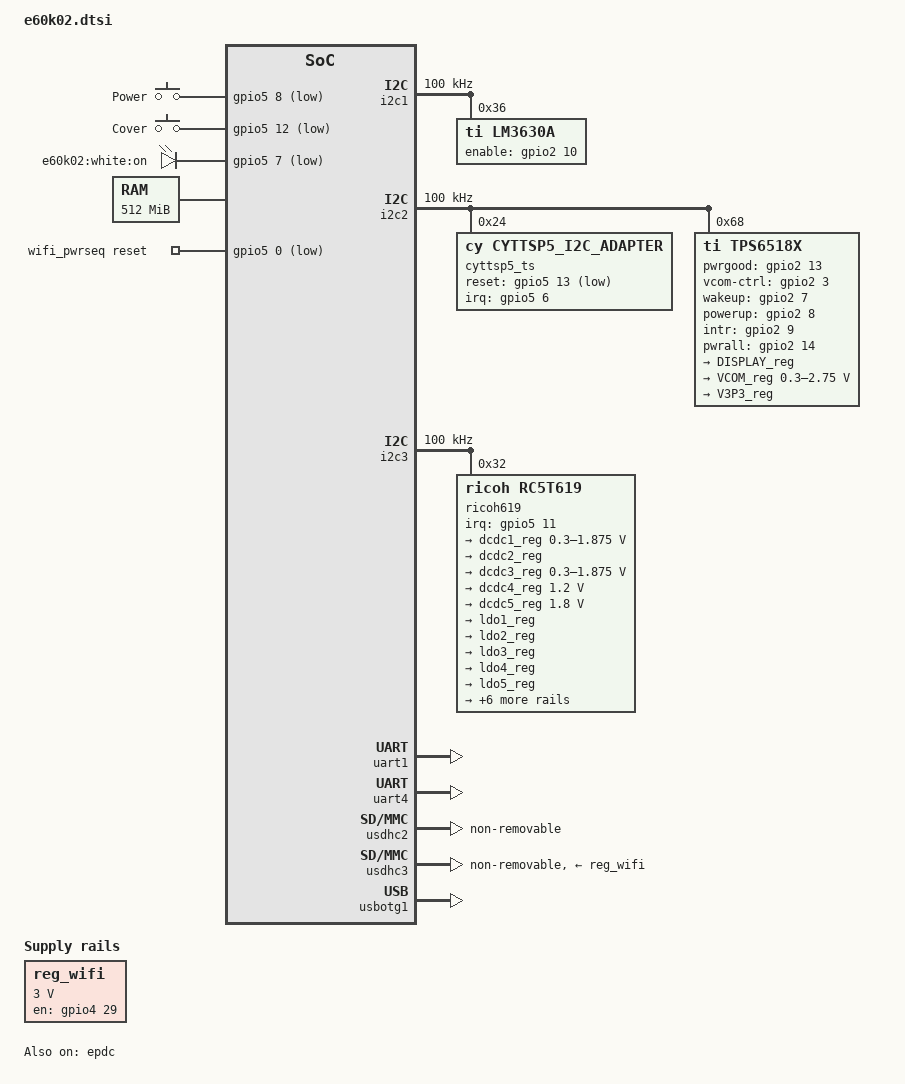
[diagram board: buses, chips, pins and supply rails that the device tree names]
// SPDX-License-Identifier: GPL-2.0
/*
 * Copyright 2019 Andreas Kemnade
 * based on works
 * Copyright 2016 Freescale Semiconductor, Inc.
 * and
 * Copyright (C) 2014 Ricoh Electronic Devices Co., Ltd
 *
 * Netronix E60K02 board common.
 * This board is equipped with different SoCs and
 * found in ebook-readers like the Kobo Clara HD (with i.MX6SLL) and
 * the Tolino Shine 3 (with i.MX6SL)
 */
#include <dt-bindings/input/input.h>

/ {
	aliases {
		mmc0 = &usdhc2;
		mmc1 = &usdhc3;
	};

	chosen {
		stdout-path = &uart1;
	};

	gpio_keys: gpio-keys {
		compatible = "gpio-keys";

		power {
			label = "Power";
			gpios = <&gpio5 8 GPIO_ACTIVE_LOW>;
			linux,code = <KEY_POWER>;
			wakeup-source;
		};

		cover {
			label = "Cover";
			gpios = <&gpio5 12 GPIO_ACTIVE_LOW>;
			linux,code = <SW_LID>;
			linux,input-type = <EV_SW>;
			wakeup-source;
		};
	};

	leds: leds {
		compatible = "gpio-leds";

		led {
			label = "e60k02:white:on";
			gpios = <&gpio5 7 GPIO_ACTIVE_LOW>;
			linux,default-trigger = "timer";
		};
	};

	memory@80000000 {
		device_type = "memory";
		reg = <0x80000000 0x20000000>;
	};

	reg_wifi: regulator-wifi {
		compatible = "regulator-fixed";
		regulator-name = "SD3_SPWR";
		regulator-min-microvolt = <3000000>;
		regulator-max-microvolt = <3000000>;
		gpio = <&gpio4 29 GPIO_ACTIVE_HIGH>;
		enable-active-high;
	};

	thermal-zones {
		epd-thermal {
			polling-delay = <10000>;
			polling-delay-passive = <10000>;
			thermal-sensors = <&tps6518x>;

			trips {
			};
		};
	};

	wifi_pwrseq: wifi_pwrseq {
		compatible = "mmc-pwrseq-simple";
		post-power-on-delay-ms = <20>;
		reset-gpios = <&gpio5 0 GPIO_ACTIVE_LOW>;
	};
};

&epdc {
	safe-ticks-turnoff-ep3v3=<800>;
	V3P3-supply = <&V3P3_reg>;      
	VCOM-supply = <&VCOM_reg>;      
	DISPLAY-supply = <&DISPLAY_reg>; 
	epd-thermal-zone = "epd-thermal";

	vscan-holdoff = <4>;
	sdoed-width = <10>;
	sdoed-delay = <20>;
	sdoez-width = <10>;
	sdoez-delay = <20>;
	gdclk-hp-offs = <562>;
	gdsp-offs = <662>;
	gdoe-offs = <0>;
	gdclk-offs = <225>;
	num-ce = <3>;

	status = "okay";

	timing {
		clock-frequency = <80000000>;
		hactive = <1448>;
		hback-porch = <16>;
		hfront-porch = <102>;
		hsync-len = <28>;
		vactive = <1072>;
		vback-porch = <4>;
		vfront-porch = <4>;
		vsync-len = <2>;
	};
};

&i2c1 {
	clock-frequency = <100000>;
	status = "okay";

	lm3630a: backlight@36 {
		reg = <0x36>;
		compatible = "ti,lm3630a";
		enable-gpios = <&gpio2 10 GPIO_ACTIVE_HIGH>;

		#address-cells = <1>;
		#size-cells = <0>;

		led@0 {
			reg = <0>;
			led-sources = <0>;
			label = "backlight_warm";
			default-brightness = <0>;
			max-brightness = <255>;
		};

		led@1 {
			reg = <1>;
			led-sources = <1>;
			label = "backlight_cold";
			default-brightness = <0>;
			max-brightness = <255>;
		};
	};
};

&i2c2 {
	clock-frequency = <100000>;
	status = "okay";

	cyttsp5_ts@24 {
		compatible = "cy,cyttsp5_i2c_adapter";
		reg = <0x24>;
		pinctrl-names = "default","sleep";
		pinctrl-0 = <&pinctrl_cyttsp5_gpio>;
		pinctrl-1 = <&pinctrl_cyttsp5_gpio_sleep>;
		interrupt-parent = <&gpio5>;
		interrupts = <6 IRQ_TYPE_EDGE_FALLING>;
		reset-gpios = <&gpio5 13 GPIO_ACTIVE_LOW>;

		cy,adapter_id = "cyttsp5_i2c_adapter";

		cy,core {
			cy,name = "cyttsp5_core";

			cy,hid_desc_register = <1>;
			/*CY_CORE_FLAG_RESTORE_PARAMETERS */
			//cy,flags = <4>;
			/* CY_CORE_EWG_NONE */
			cy,easy_wakeup_gesture = <0>;
			cy,btn_keys = <172 /* KEY_HOMEPAGE */
					   /* previously was KEY_HOME, new Android versions use KEY_HOMEPAGE */
				       139 /* KEY_MENU */
				       158 /* KEY_BACK */
				       217 /* KEY_SEARCH */
				       114 /* KEY_VOLUMEDOWN */
				       115 /* KEY_VOLUMEUP */
				       212 /* KEY_CAMERA */
				       116>; /* KEY_POWER */
			cy,btn_keys-tag = <0>;

			cy,mt {
				cy,name = "cyttsp5_mt";

				cy,inp_dev_name = "cyttsp5_mt";
				/* CY_MT_FLAG_INV_Y*/
				/* cy,flags = <0x20>; */
				cy,abs =
					/* ABS_MT_POSITION_X, CY_ABS_MIN_X, CY_ABS_MAX_X, 0, 0 */
					<0x35 0 880 0 0
					/* ABS_MT_POSITION_Y, CY_ABS_MIN_Y, CY_ABS_MAX_Y, 0, 0 */
					0x36 0 1280 0 0
					/* ABS_MT_PRESSURE, CY_ABS_MIN_P, CY_ABS_MAX_P, 0, 0 */
					0x3a 0 255 0 0
					/* CY_IGNORE_VALUE, CY_ABS_MIN_W, CY_ABS_MAX_W, 0, 0 */
					0xffff 0 255 0 0
					/* ABS_MT_TRACKING_ID, CY_ABS_MIN_T, CY_ABS_MAX_T, 0, 0 */
					0x39 0 15 0 0
					/* ABS_MT_TOUCH_MAJOR, 0, 255, 0, 0 */
					0x30 0 255 0 0
					/* ABS_MT_TOUCH_MINOR, 0, 255, 0, 0 */
					0x31 0 255 0 0
					/* ABS_MT_ORIENTATION, -127, 127, 0, 0 */
					0x34 0xffffff81 127 0 0
					/* ABS_MT_TOOL_TYPE, 0, MT_TOOL_MAX, 0, 0 */
					0x37 0 1 0 0
					/* ABS_MT_DISTANCE, 0, 255, 0, 0 */
					0x3b 0 255 0 0>;

				cy,vkeys_x = <720>;
				cy,vkeys_y = <1280>;

				cy,virtual_keys = /* KeyCode CenterX CenterY Width Height */
					/* KEY_BACK */
					<158 1360 90 160 180
					/* KEY_MENU */
					139 1360 270 160 180
					/* KEY_HOMEPAGE */
					172 1360 450 160 180
					/* KEY SEARCH */
					217 1360 630 160 180>;
			};

			cy,btn {
				cy,name = "cyttsp5_btn";

				cy,inp_dev_name = "cyttsp5_btn";
			};

			cy,proximity {
				cy,name = "cyttsp5_proximity";

				cy,inp_dev_name = "cyttsp5_proximity";
				cy,abs =
					/* ABS_DISTANCE, CY_PROXIMITY_MIN_VAL, CY_PROXIMITY_MAX_VAL, 0, 0 */
					<0x19 0 1 0 0>;
			};
		};
	};

	tps6518x: epdc-pmic@68 {
		compatible = "ti,tps6518x";
		reg = <0x68>;
		/*
		 * power sequencing for TPS65180/65181
		 */
		pwr_seq0 = <0xe1>; /* [Vddh-seq=3 | Vpos-seq=2 | Vee-seq=0 | Vneg-seq=1] */
		pwr_seq1 = <0x30>; /* [Vneg-dly1=3 |Vee-dly0=0]  mSec */
		pwr_seq2 = <0x33>; /* [Vddh-dly3=3 | Vpos-dly2=3] mSec */

                /*
                 * power sequencing for TPS65185/65186
                 */
                upseq0 = <0xe1>;
                upseq1 = <0x00>;
                dwnseq0 = <0x1e>;
                dwnseq1 = <0xe0>;

		pwrgood-gpios = <&gpio2 13 0>;
		vcom-ctrl-gpios = <&gpio2 3 GPIO_ACTIVE_HIGH>;
		wakeup-gpios = <&gpio2 7 0>;
		powerup-gpios = <&gpio2 8 GPIO_ACTIVE_HIGH>;
		intr-gpios = <&gpio2 9 0>;

		/* gpio_pmic_v3p3 = <&gpio2 14 GPIO_ACTIVE_HIGH>; */
		pwrall-gpios = <&gpio2 14 GPIO_ACTIVE_HIGH>;

		#thermal-sensor-cells = <0>;

		regulators {
			DISPLAY_reg: DISPLAY {
				regulator-name = "DISPLAY";
			};

			VCOM_reg: VCOM {
				regulator-name = "VCOM";
				regulator-max-microvolt = <2750000>;
				regulator-min-microvolt = <300000>;
			};

			V3P3_reg: V3P3 {
				regulator-name = "V3P3";
			};

		};
	};


};

&i2c3 {
	clock-frequency = <100000>;
	status = "okay";

	ricoh619: pmic@32 {
		compatible = "ricoh,rc5t619";
		reg = <0x32>;
		interrupt-parent = <&gpio5>;
		interrupts = <11 IRQ_TYPE_EDGE_FALLING>;
		system-power-controller;

		regulators {
			dcdc1_reg: DCDC1 {
				regulator-name = "DCDC1";
				regulator-min-microvolt = <300000>;
				regulator-max-microvolt = <1875000>;
				regulator-always-on;
				regulator-boot-on;

				regulator-state-mem {
					regulator-on-in-suspend;
					regulator-suspend-max-microvolt = <900000>;
					regulator-suspend-min-microvolt = <900000>;
				};
			};

			/* Core3_3V3 */
			dcdc2_reg: DCDC2 {
				regulator-name = "DCDC2";
				regulator-always-on;
				regulator-boot-on;

				regulator-state-mem {
					regulator-on-in-suspend;
					regulator-suspend-max-microvolt = <3300000>;
					regulator-suspend-min-microvolt = <3300000>;
				};
			};

			dcdc3_reg: DCDC3 {
				regulator-name = "DCDC3";
				regulator-min-microvolt = <300000>;
				regulator-max-microvolt = <1875000>;
				regulator-always-on;
				regulator-boot-on;

				regulator-state-mem {
					regulator-on-in-suspend;
					regulator-suspend-max-microvolt = <1140000>;
					regulator-suspend-min-microvolt = <1140000>;
				};
			};

			/* Core4_1V2 */
			dcdc4_reg: DCDC4 {
				regulator-name = "DCDC4";
				regulator-min-microvolt = <1200000>;
				regulator-max-microvolt = <1200000>;
				regulator-always-on;
				regulator-boot-on;

				regulator-state-mem {
					regulator-on-in-suspend;
					regulator-suspend-max-microvolt = <1140000>;
					regulator-suspend-min-microvolt = <1140000>;
				};
			};

			/* Core4_1V8 */
			dcdc5_reg: DCDC5 {
				regulator-name = "DCDC5";
				regulator-min-microvolt = <1800000>;
				regulator-max-microvolt = <1800000>;
				regulator-always-on;
				regulator-boot-on;

				regulator-state-mem {
					regulator-on-in-suspend;
					regulator-suspend-max-microvolt = <1700000>;
					regulator-suspend-min-microvolt = <1700000>;
				};
			};

			/* IR_3V3 */
			ldo1_reg: LDO1  {
				regulator-name = "LDO1";
				regulator-boot-on;
			};

			/* Core1_3V3 */
			ldo2_reg: LDO2  {
				regulator-name = "LDO2";
				regulator-always-on;
				regulator-boot-on;

				regulator-state-mem {
					regulator-on-in-suspend;
					regulator-suspend-max-microvolt = <3000000>;
					regulator-suspend-min-microvolt = <3000000>;
				};
			};

			/* Core5_1V2 */
			ldo3_reg: LDO3  {
				regulator-name = "LDO3";
				regulator-always-on;
				regulator-boot-on;
			};

			ldo4_reg: LDO4 {
				regulator-name = "LDO4";
				regulator-boot-on;
			};

			/* SPD_3V3 */
			ldo5_reg: LDO5 {
				regulator-name = "LDO5";
				regulator-always-on;
				regulator-boot-on;
			};

			/* DDR_0V6 */
			ldo6_reg: LDO6 {
				regulator-name = "LDO6";
				regulator-always-on;
				regulator-boot-on;
			};

			/* VDD_PWM */
			ldo7_reg: LDO7 {
				regulator-name = "LDO7";
				regulator-always-on;
				regulator-boot-on;
			};

			/* ldo_1v8 */
			ldo8_reg: LDO8 {
				regulator-name = "LDO8";
				regulator-min-microvolt = <1800000>;
				regulator-max-microvolt = <1800000>;
				regulator-always-on;
				regulator-boot-on;
			};

			ldo9_reg: LDO9 {
				regulator-name = "LDO9";
				regulator-boot-on;
			};

			ldo10_reg: LDO10 {
				regulator-name = "LDO10";
				regulator-boot-on;
			};

			ldortc1_reg: LDORTC1  {
				regulator-name = "LDORTC1";
				regulator-boot-on;
			};
		};
	};
};

&snvs_rtc {
	/* we are using the rtc in the pmic, not disabled in imx6sll.dtsi */
	status = "disabled";
};

&uart1 {
	/* J4, through-hole */
	status = "okay";
};

&uart4 {
	/* TP198, next to J4, SMD pads */
	status = "okay";
};

&usdhc2 {
	non-removable;
	status = "okay";
};

&usdhc3 {
	vmmc-supply = <&reg_wifi>;
	mmc-pwrseq = <&wifi_pwrseq>;
	cap-power-off-card;
	non-removable;
	status = "okay";
};

&usbotg1 {
	pinctrl-names = "default";
	disable-over-current;
	srp-disable;
	hnp-disable;
	adp-disable;
	status = "okay";
};
